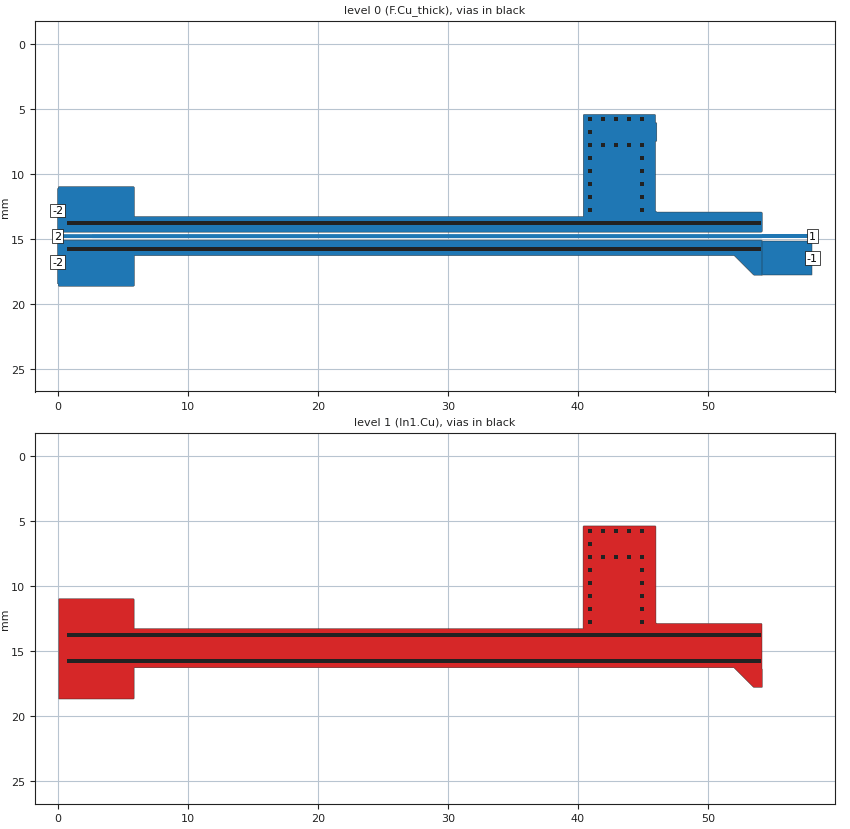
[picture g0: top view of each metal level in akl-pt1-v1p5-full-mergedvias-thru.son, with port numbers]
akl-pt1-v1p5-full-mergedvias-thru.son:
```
FTYP SONPROJ 19 ! Sonnet Project File
VER 18.54
HEADER
LIC antikernel2.1.51813
DAT 08/12/2022 19:38:46
BUILT_BY_CREATED dxf 18.54 08/11/2022 23:14:47
BUILT_BY_SAVED sonnet 18.54
MDATE 08/12/2022 19:38:46
HDATE 08/12/2022 19:38:46
ANN Created by dxfgeo, Sonnet Software Inc.
END HEADER
DIM
ANG DEG
CAP PF
CON /OH
FREQ GHZ
IND NH
LNG MM
RES OH
END DIM
CONTROL
VARSWP
OPTIONS  -dj
SPEED 1
CACHE_ABS 2
Q_ACC N
END CONTROL
GEO
DRP1 LEFT NONE 5
DRP1 RIGHT LINK
POLY 495 1
0
TMET "Free Space" 0 FREESPACE 376.7303136 0 0 0
BMET "Free Space" 0 FREESPACE 376.7303136 0 0 0
MET "Copper_1oz+plated_thick_up" 1 TMM 58000000 0.5 0.0432 2
MET "Copper_1oz+plated_thin" 4 NOR 58000000 0.5 0.0432 
MET "Copper_0.5oz_thin" 2 NOR 58000000 0.5 0.0175 
MET "Copper_1oz+plated_thick_down" 3 TMM 58000000 0.5 0.0432 2 CDVY TDWN
BOX 4 58 25 2320 1000 20 0
      10 1 1 0 0 0 0 "Air"
      0.2021 3.61 1 0.0092 0 0 0 "Isola_FR408HR"
      1.1938 3.61 1 0.0092 0 0 0 "Isola_FR408HR"
      0.2021 3.61 1 0.0092 0 0 0 "Isola_FR408HR"
      10 1 1 0 0 0 0 "Air"
TECHLAY METAL F.Cu_thick <UNSPECIFIED> -1 0 CAD F.Cu drawing 
0 0 0 N 150 1 1 100 100 0 0 0 Y
END
END
TECHLAY VIA Via1 <UNSPECIFIED> -7 0 CAD Via1 drawing 
VIA POLYGON
0 0 -1 N 488 1 1 100 100 0 0 0 Y
TOLEVEL 3 RING NOCOVERS
END
END
TECHLAY METAL F.Cu_thin <UNSPECIFIED> -2 0 CAD F.Cu_thin drawing 
0 0 1 N 154 1 1 100 100 0 0 0 Y
END
END
TECHLAY METAL In1.Cu <UNSPECIFIED> -3 0 CAD In1.Cu drawing 
1 0 2 N 157 1 1 100 100 0 0 0 Y
END
END
TECHLAY METAL In2.Cu <UNSPECIFIED> -4 0 CAD In2.Cu drawing 
2 0 2 N 160 1 1 100 100 0 0 0 Y
END
END
TECHLAY METAL B.Cu_thin <UNSPECIFIED> -6 0 CAD B.Cu_thin drawing 
3 0 1 N 163 1 1 100 100 0 0 0 Y
END
END
TECHLAY METAL B.Cu_thick <UNSPECIFIED> -5 0 CAD B.Cu drawing 
3 0 3 N 165 1 1 100 100 0 0 0 Y
END
END
LORGN 0 25 U 
POR1 BOX
POLY 224 1
41
-2 50 0 0 0 0 12.82 
POR1 BOX
POLY 464 1
13
2 50 0 0 0 0 14.8 
POR1 BOX
POLY 465 1
15
-2 50 0 0 0 0 16.78 
POR1 BOX
POLY 495 1
2
1 50 0 0 0 58 14.8 
POR1 BOX
POLY 498 1
2
-1 50 0 0 0 58 16.49 
NUM 29
0 45 0 N 224 1 1 100 100 0 0 0 Y
TLAYNAM F.Cu_thick INH
USER_DAT FromImport
54.089 14.493
54.133 14.468
54.15 14.421
54.15 13.024
54.149 13.011
54.124 12.967
54.076 12.95
46.129 12.95
46.11 12.953
46.1 12.955
46.091 12.953
46.061 12.945
46.022 12.934
45.966 12.878
45.95 12.82
45.945 12.8
45.947 12.79
45.95 12.771
45.95 7.5
46.05 7.5
46.05 6.1
45.95 6.1
45.95 5.524
45.949 5.511
45.924 5.467
45.876 5.45
40.474 5.45
40.461 5.451
40.417 5.476
40.4 5.524
40.4 13.3
5.9 13.3
5.9 11.074
5.899 11.061
5.874 11.017
5.826 11
0.124 11
0.111 11.001
0.067 11.026
0.05 11.074
0.05 11.145
0 11.145
0 14.495
54.076 14.495
54.089 14.493
END
0 21 0 N 464 1 1 100 100 0 0 0 Y
TLAYNAM F.Cu_thick INH
USER_DAT FromImport
54.123 14.954
54.138 14.951
54.15 14.947
54.15 14.947
54.15 14.653
54.15 14.653
54.138 14.649
54.123 14.646
54.108 14.645
2.692 14.645
2.677 14.646
2.662 14.649
2.659 14.65
0 14.65
0 14.95
2.659 14.95
2.662 14.951
2.677 14.954
2.692 14.955
54.108 14.955
54.123 14.954
END
0 24 0 N 465 1 1 100 100 0 0 0 Y
TLAYNAM F.Cu_thick INH
USER_DAT FromImport
5.839 18.649
5.883 18.624
5.9 18.576
5.9 16.3
52 16.3
53.483 17.783
53.531 17.8
54.15 17.8
54.15 15.18
54.15 15.18
54.149 15.167
54.124 15.123
54.076 15.106
5.5 15.106
5.5 15.105
0 15.105
0 18.455
0.05 18.455
0.05 18.576
0.051 18.589
0.076 18.633
0.124 18.65
5.826 18.65
5.839 18.649
END
0 5 0 N 495 1 1 100 100 0 0 0 Y
TLAYNAM F.Cu_thick INH
54.15 14.947
54.15 14.653
58 14.653
58 14.947
54.15 14.947
END
0 5 0 N 498 1 1 100 100 0 0 0 Y
TLAYNAM F.Cu_thick INH
54.15 17.8
54.15 15.18
58 15.18
58 17.8
54.15 17.8
END
VIA POLYGON
0 5 -1 N 61 1 1 100 100 0 0 0 Y
TOLEVEL 3 RING NOCOVERS
TLAYNAM Via1 INH
USER_DAT FromImport
40.75 12.95
40.75 12.65
41.05 12.65
41.05 12.95
40.75 12.95
END
VIA POLYGON
0 5 -1 N 62 1 1 100 100 0 0 0 Y
TOLEVEL 3 RING NOCOVERS
TLAYNAM Via1 INH
USER_DAT FromImport
44.75 12.95
44.75 12.65
45.05 12.65
45.05 12.95
44.75 12.95
END
VIA POLYGON
0 5 -1 N 63 1 1 100 100 0 0 0 Y
TOLEVEL 3 RING NOCOVERS
TLAYNAM Via1 INH
USER_DAT FromImport
40.75 11.95
40.75 11.65
41.05 11.65
41.05 11.95
40.75 11.95
END
VIA POLYGON
0 5 -1 N 64 1 1 100 100 0 0 0 Y
TOLEVEL 3 RING NOCOVERS
TLAYNAM Via1 INH
USER_DAT FromImport
44.75 11.95
44.75 11.65
45.05 11.65
45.05 11.95
44.75 11.95
END
VIA POLYGON
0 5 -1 N 65 1 1 100 100 0 0 0 Y
TOLEVEL 3 RING NOCOVERS
TLAYNAM Via1 INH
USER_DAT FromImport
40.75 10.95
40.75 10.65
41.05 10.65
41.05 10.95
40.75 10.95
END
VIA POLYGON
0 5 -1 N 66 1 1 100 100 0 0 0 Y
TOLEVEL 3 RING NOCOVERS
TLAYNAM Via1 INH
USER_DAT FromImport
44.75 10.95
44.75 10.65
45.05 10.65
45.05 10.95
44.75 10.95
END
VIA POLYGON
0 5 -1 N 67 1 1 100 100 0 0 0 Y
TOLEVEL 3 RING NOCOVERS
TLAYNAM Via1 INH
USER_DAT FromImport
40.75 9.95
40.75 9.65
41.05 9.65
41.05 9.95
40.75 9.95
END
VIA POLYGON
0 5 -1 N 68 1 1 100 100 0 0 0 Y
TOLEVEL 3 RING NOCOVERS
TLAYNAM Via1 INH
USER_DAT FromImport
44.75 9.95
44.75 9.65
45.05 9.65
45.05 9.95
44.75 9.95
END
VIA POLYGON
0 5 -1 N 69 1 1 100 100 0 0 0 Y
TOLEVEL 3 RING NOCOVERS
TLAYNAM Via1 INH
USER_DAT FromImport
40.75 8.95
40.75 8.65
41.05 8.65
41.05 8.95
40.75 8.95
END
VIA POLYGON
0 5 -1 N 70 1 1 100 100 0 0 0 Y
TOLEVEL 3 RING NOCOVERS
TLAYNAM Via1 INH
USER_DAT FromImport
44.75 8.95
44.75 8.65
45.05 8.65
45.05 8.95
44.75 8.95
END
VIA POLYGON
0 5 -1 N 71 1 1 100 100 0 0 0 Y
TOLEVEL 3 RING NOCOVERS
TLAYNAM Via1 INH
USER_DAT FromImport
40.75 7.95
40.75 7.65
41.05 7.65
41.05 7.95
40.75 7.95
END
VIA POLYGON
0 5 -1 N 72 1 1 100 100 0 0 0 Y
TOLEVEL 3 RING NOCOVERS
TLAYNAM Via1 INH
USER_DAT FromImport
41.75 7.95
41.75 7.65
42.05 7.65
42.05 7.95
41.75 7.95
END
VIA POLYGON
0 5 -1 N 73 1 1 100 100 0 0 0 Y
TOLEVEL 3 RING NOCOVERS
TLAYNAM Via1 INH
USER_DAT FromImport
42.75 7.95
42.75 7.65
43.05 7.65
43.05 7.95
42.75 7.95
END
VIA POLYGON
0 5 -1 N 74 1 1 100 100 0 0 0 Y
TOLEVEL 3 RING NOCOVERS
TLAYNAM Via1 INH
USER_DAT FromImport
43.75 7.95
43.75 7.65
44.05 7.65
44.05 7.95
43.75 7.95
END
VIA POLYGON
0 5 -1 N 75 1 1 100 100 0 0 0 Y
TOLEVEL 3 RING NOCOVERS
TLAYNAM Via1 INH
USER_DAT FromImport
44.75 7.95
44.75 7.65
45.05 7.65
45.05 7.95
44.75 7.95
END
VIA POLYGON
0 5 -1 N 76 1 1 100 100 0 0 0 Y
TOLEVEL 3 RING NOCOVERS
TLAYNAM Via1 INH
USER_DAT FromImport
40.75 6.95
40.75 6.65
41.05 6.65
41.05 6.95
40.75 6.95
END
VIA POLYGON
0 5 -1 N 77 1 1 100 100 0 0 0 Y
TOLEVEL 3 RING NOCOVERS
TLAYNAM Via1 INH
USER_DAT FromImport
40.75 5.95
40.75 5.65
41.05 5.65
41.05 5.95
40.75 5.95
END
VIA POLYGON
0 5 -1 N 78 1 1 100 100 0 0 0 Y
TOLEVEL 3 RING NOCOVERS
TLAYNAM Via1 INH
USER_DAT FromImport
41.75 5.95
41.75 5.65
42.05 5.65
42.05 5.95
41.75 5.95
END
VIA POLYGON
0 5 -1 N 79 1 1 100 100 0 0 0 Y
TOLEVEL 3 RING NOCOVERS
TLAYNAM Via1 INH
USER_DAT FromImport
42.75 5.95
42.75 5.65
43.05 5.65
43.05 5.95
42.75 5.95
END
VIA POLYGON
0 5 -1 N 80 1 1 100 100 0 0 0 Y
TOLEVEL 3 RING NOCOVERS
TLAYNAM Via1 INH
USER_DAT FromImport
43.75 5.95
43.75 5.65
44.05 5.65
44.05 5.95
43.75 5.95
END
VIA POLYGON
0 5 -1 N 81 1 1 100 100 0 0 0 Y
TOLEVEL 3 RING NOCOVERS
TLAYNAM Via1 INH
USER_DAT FromImport
44.75 5.95
44.75 5.65
45.05 5.65
45.05 5.95
44.75 5.95
END
VIA POLYGON
0 5 -1 N 93 1 1 100 100 0 0 0 Y
TOLEVEL 3 RING NOCOVERS
TLAYNAM Via1 INH
USER_DAT FromImport
0.75 15.95
0.75 15.65
54.05 15.65
54.05 15.95
0.75 15.95
END
VIA POLYGON
0 5 -1 N 119 1 1 100 100 0 0 0 Y
TOLEVEL 3 RING NOCOVERS
TLAYNAM Via1 INH
USER_DAT FromImport
0.75 13.95
0.75 13.65
54.05 13.65
54.05 13.95
0.75 13.95
END
1 37 2 N 466 1 1 100 100 0 0 0 Y
TLAYNAM In1.Cu INH
USER_DAT FromImport
5.868925 18.67935
5.882925 18.64435
5.882925 16.29335
51.982925 16.29335
53.468925 17.77935
53.502925 17.79335
54.15 17.79335
54.15 16.39335
54.132925 16.39335
54.132925 12.94235
54.118925 12.90735
54.083925 12.89335
46.050925 12.89335
46.042925 12.88835
46.029925 12.88135
46.020925 12.87835
46.016925 12.87235
46.003925 12.85935
45.997925 12.85535
45.994925 12.84635
45.987925 12.83335
45.982925 12.82535
45.982925 5.44235
45.968925 5.40735
45.933925 5.39335
40.431925 5.39335
40.396925 5.40735
40.382925 5.44235
40.382925 13.29335
5.882925 13.29335
5.882925 11.04235
5.868925 11.00735
5.833925 10.99335
0.1 10.99335
0.1 18.69335
5.833925 18.69335
5.868925 18.67935
END
END GEO
OPT
MAX -1.866e9
END OPT
VARSWP
ENABLED Y
FREQ Y AN STEP 7.85
FREQ Y AY ABS_ENTRY 0.1 12.0 -1 300 
END
END VARSWP
```
